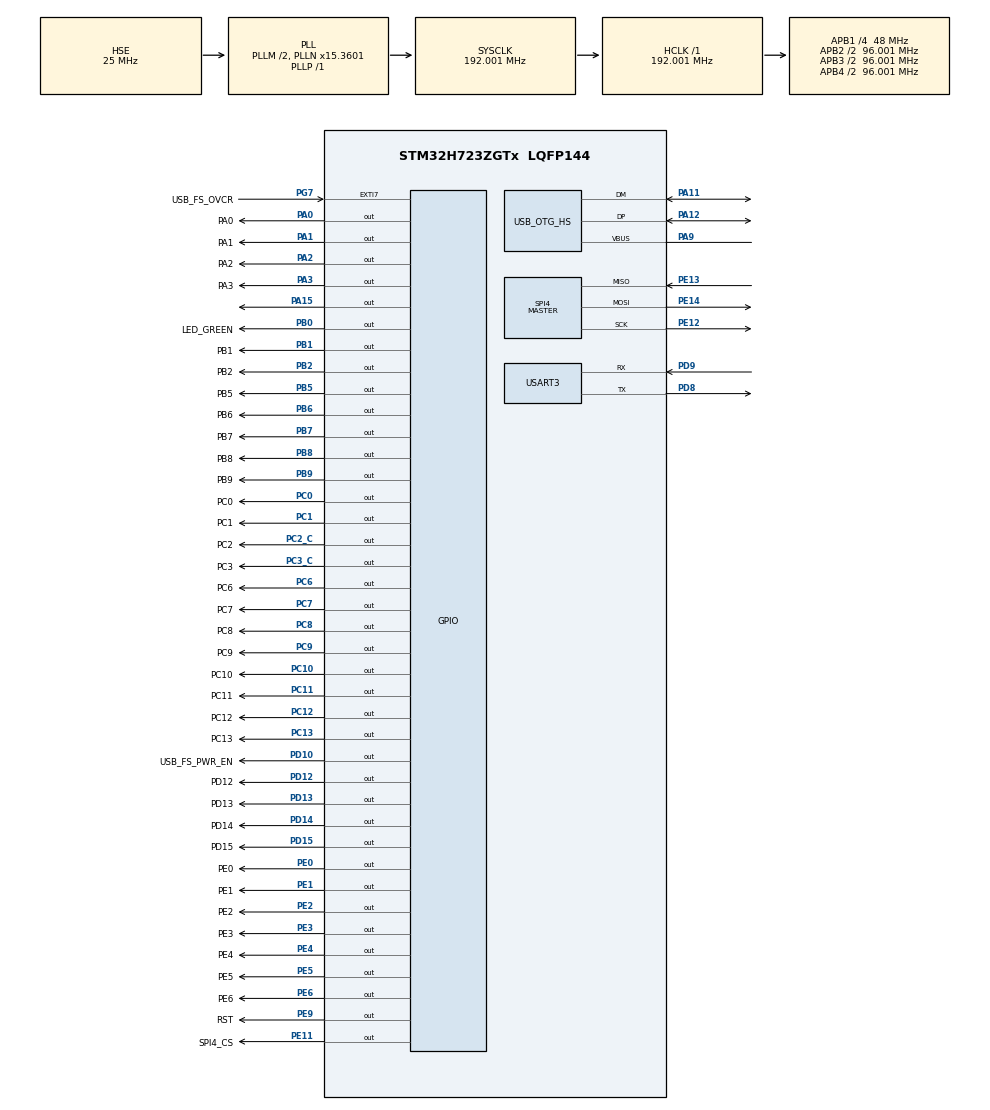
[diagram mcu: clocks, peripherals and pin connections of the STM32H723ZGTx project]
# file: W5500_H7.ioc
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Mcu.Family=STM32H7
Mcu.Name=STM32H723ZGTx
Mcu.Package=LQFP144
NVIC.OTG_HS_EP1_IN_IRQn=true\:0\:0\:false\:false\:true\:true\:true\:true
NVIC.OTG_HS_EP1_OUT_IRQn=true\:0\:0\:false\:false\:true\:true\:true\:true
NVIC.OTG_HS_IRQn=true\:0\:0\:false\:false\:true\:true\:true\:true
NVIC.PriorityGroup=NVIC_PRIORITYGROUP_4
PA0.GPIO_Label=PA0
PA0.Signal=GPIO_Output
PA1.GPIO_Label=PA1
PA1.Signal=GPIO_Output
PA11.Mode=Device_Only_FS
PA11.Signal=USB_OTG_HS_DM
PA12.Mode=Device_Only_FS
PA12.Signal=USB_OTG_HS_DP
PA13(JTMS/SWDIO).GPIO_Label=SWDIO
PA13(JTMS/SWDIO).Mode=Trace_Asynchronous_SW
PA13(JTMS/SWDIO).Signal=DEBUG_JTMS-SWDIO
PA14(JTCK/SWCLK).GPIO_Label=SWCLK
PA14(JTCK/SWCLK).Mode=Trace_Asynchronous_SW
PA14(JTCK/SWCLK).Signal=DEBUG_JTCK-SWCLK
PA15(JTDI).PinState=GPIO_PIN_SET
PA15(JTDI).Signal=GPIO_Output
PA2.GPIO_Label=PA2
PA2.Signal=GPIO_Output
PA3.GPIO_Label=PA3
PA3.Signal=GPIO_Output
PA7.GPIO_Label=RMII_CRS_DV
PA7.Signal=ETH_CRS_DV
PA9.Mode=Activate_VBUS_FS
PA9.Signal=USB_OTG_HS_VBUS
PB0.GPIO_Label=LED_GREEN
PB0.Signal=GPIO_Output
PB1.GPIO_Label=PB1
PB1.Signal=GPIO_Output
PB2.GPIO_Label=PB2
PB2.Signal=GPIO_Output
PB3(JTDO/TRACESWO).GPIO_Label=SWO
PB3(JTDO/TRACESWO).Mode=Trace_Asynchronous_SW
PB3(JTDO/TRACESWO).Signal=DEBUG_JTDO-SWO
PB5.GPIO_Label=PB5
PB5.Signal=GPIO_Output
PB6.GPIO_Label=PB6
PB6.Signal=GPIO_Output
PB7.GPIO_Label=PB7
PB7.Signal=GPIO_Output
PB8.GPIO_Label=PB8
PB8.Signal=GPIO_Output
PB9.GPIO_Label=PB9
PB9.Signal=GPIO_Output
PC0.GPIO_Label=PC0
PC0.Signal=GPIO_Output
PC1.GPIO_Label=PC1
PC1.Signal=GPIO_Output
PC10.GPIO_Label=PC10
PC10.Signal=GPIO_Output
PC11.GPIO_Label=PC11
PC11.Signal=GPIO_Output
PC12.GPIO_Label=PC12
PC12.Signal=GPIO_Output
PC13.GPIO_Label=PC13
PC13.Signal=GPIO_Output
PC14-OSC32_IN.Mode=LSE-External-Oscillator
PC14-OSC32_IN.Signal=RCC_OSC32_IN
PC15-OSC32_OUT.Mode=LSE-External-Oscillator
PC15-OSC32_OUT.Signal=RCC_OSC32_OUT
PC2_C.GPIO_Label=PC2
PC2_C.Signal=GPIO_Output
PC3_C.GPIO_Label=PC3
PC3_C.Signal=GPIO_Output
PC4.GPIO_Label=RMII_RXD0
PC4.Signal=ETH_RXD0
PC5.GPIO_Label=RMII_RXD1
PC5.Signal=ETH_RXD1
PC6.GPIO_Label=PC6
PC6.Signal=GPIO_Output
PC7.GPIO_Label=PC7
PC7.Signal=GPIO_Output
PC8.GPIO_Label=PC8
PC8.Signal=GPIO_Output
PC9.GPIO_Label=PC9
PC9.Signal=GPIO_Output
PD10.GPIO_Label=USB_FS_PWR_EN
PD10.Signal=GPIO_Output
PD12.GPIO_Label=PD12
PD12.Signal=GPIO_Output
PD13.GPIO_Label=PD13
PD13.Signal=GPIO_Output
PD14.GPIO_Label=PD14
PD14.Signal=GPIO_Output
PD15.GPIO_Label=PD15
PD15.Signal=GPIO_Output
PD8.Mode=Asynchronous
PD8.Signal=USART3_TX
PD9.Mode=Asynchronous
PD9.Signal=USART3_RX
PE0.GPIO_Label=PE0
PE0.Signal=GPIO_Output
PE1.GPIO_Label=PE1
PE1.Signal=GPIO_Output
PE11.GPIO_Label=SPI4_CS
PE11.Signal=GPIO_Output
PE12.Mode=Full_Duplex_Master
PE12.Signal=SPI4_SCK
PE13.Mode=Full_Duplex_Master
PE13.Signal=SPI4_MISO
PE14.Mode=Full_Duplex_Master
PE14.Signal=SPI4_MOSI
PE2.GPIO_Label=PE2
PE2.Signal=GPIO_Output
PE3.GPIO_Label=PE3
PE3.Signal=GPIO_Output
PE4.GPIO_Label=PE4
PE4.Signal=GPIO_Output
PE5.GPIO_Label=PE5
PE5.Signal=GPIO_Output
PE6.GPIO_Label=PE6
PE6.Signal=GPIO_Output
PE9.GPIO_Label=RST
PE9.Signal=GPIO_Output
PG11.GPIO_Label=RMII_TX_EN
PG11.Signal=ETH_TX_EN
PG13.GPIO_Label=RMII_TXD0
PG13.Signal=ETH_TXD0
PG7.GPIO_Label=USB_FS_OVCR
PG7.Signal=GPXTI7
PH0-OSC_IN.GPIO_Label=MCO
PH0-OSC_IN.Mode=HSE-External-Oscillator
PH0-OSC_IN.Signal=RCC_OSC_IN
PH1-OSC_OUT.Mode=HSE-External-Oscillator
PH1-OSC_OUT.Signal=RCC_OSC_OUT
ProjectManager.HeapSize=0x600
ProjectManager.StackSize=0x400
ProjectManager.TargetToolchain=MDK-ARM V5.32
RCC.ADCFreq_Value=200000000
RCC.APB1Freq_Value=48000335.693359375
RCC.APB2Freq_Value=96000671.38671875
RCC.APB3Freq_Value=96000671.38671875
RCC.APB4Freq_Value=96000671.38671875
RCC.CortexFreq_Value=192001342.7734375
RCC.D1PPRE=RCC_APB3_DIV2
RCC.D2PPRE1=RCC_APB1_DIV4
RCC.D2PPRE2=RCC_APB2_DIV2
RCC.D3PPRE=RCC_APB4_DIV2
RCC.DIVM1=2
RCC.DIVM2=1
RCC.DIVM3=5
RCC.DIVN1=15
RCC.DIVN2=16
RCC.DIVN3=48
RCC.DIVP1=1
RCC.DIVQ3=5
RCC.HCLKFreq_Value=192001342.7734375
RCC.HSE_VALUE=25000000
RCC.PLL3FRACN=0
RCC.PLLFRACN=2950
RCC.PLLSourceVirtual=RCC_PLLSOURCE_HSE
RCC.SYSCLKFreq_VALUE=192001342.7734375
RCC.SYSCLKSource=RCC_SYSCLKSOURCE_PLLCLK
RCC.USBCLockSelection=RCC_USBCLKSOURCE_PLL3
RCC.USBFreq_Value=48000000
SPI4.CalculateBaudRate=48.000336 MBits/s
SPI4.DataSize=SPI_DATASIZE_8BIT
SPI4.Direction=SPI_DIRECTION_2LINES
SPI4.Mode=SPI_MODE_MASTER
SPI4.VirtualType=VM_MASTER
USART3.VirtualMode-Asynchronous=VM_ASYNC
USB_DEVICE.CLASS_NAME_HS=CDC
USB_DEVICE.VirtualMode=Cdc
USB_DEVICE.VirtualModeHS=Cdc_HS
USB_OTG_HS.VirtualMode-Device_Only_FS=Device_Only_FS
USB_OTG_HS.lpm_enable-Device_Only_FS=ENABLE
VP_RTC_VS_RTC_Activate.Mode=RTC_Enabled
VP_USB_DEVICE_VS_USB_DEVICE_CDC_HS.Mode=CDC_HS
board=NUCLEO-H723ZG

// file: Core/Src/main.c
/* USER CODE BEGIN Header */
/**
  ******************************************************************************
  * @file           : main.c
  * @brief          : Main program body
  ******************************************************************************
  * @attention
  *
  * Copyright (c) 2024 STMicroelectronics.
  * All rights reserved.
  *
  * This software is licensed under terms that can be found in the LICENSE file
  * in the root directory of this software component.
  * If no LICENSE file comes with this software, it is provided AS-IS.
  *
  ******************************************************************************
  */
/* USER CODE END Header */
#include "main.h"
#include "usb_device.h"

/* USER CODE BEGIN Includes */

#include <stdio.h>

#include "wizchip_conf.h"
//#include "w5x00_spi.h"

#include "loopback.h"
#include "usbd_cdc_if.h"

/* USER CODE END Includes */

/* USER CODE BEGIN PM */
/* Buffer */
#define ETHERNET_BUF_MAX_SIZE (1024 * 2)

/* Socket */
#define SOCKET_LOOPBACK 0

/* Port */
#define PORT_LOOPBACK 5000

/* USER CODE END PM */

RTC_HandleTypeDef hrtc;

SPI_HandleTypeDef hspi4;

UART_HandleTypeDef huart3;

/* USER CODE BEGIN PV */

/* Network */

static wiz_NetInfo gWIZNETINFO =
    {
        .mac = {0x00, 0x08, 0xDC, 0x12, 0x34, 0x56}, // MAC address
        .ip = {192, 168, 11, 2},                     // IP address
        .sn = {255, 255, 255, 0},                    // Subnet Mask
        .gw = {192, 168, 11, 1},                     // Gateway
        .dns = {8, 8, 8, 8},                         // DNS server
        .dhcp = NETINFO_STATIC                       // DHCP enable/disable
};

/* Loopback */

static uint8_t g_loopback_buf[ETHERNET_BUF_MAX_SIZE] = {
    0,
};

void print_network_information(void);
void wizchip_initialize(void);
uint8_t W5500SpiReadByte(void);
void W5500SpiWriteByte(uint8_t byte);
static inline void wizchip_select(void);
static inline void wizchip_deselect(void);
void wizchip_reset();
void network_initialize(wiz_NetInfo net_info);

/* USER CODE END PV */

void SystemClock_Config(void);
static void MX_GPIO_Init(void);
static void MX_SPI4_Init(void);
static void MX_RTC_Init(void);
static void MX_USART3_UART_Init(void);
/* USER CODE BEGIN PFP */

#define PUTCHAR_PROTOTYPE int fputc(int ch, FILE *f)

PUTCHAR_PROTOTYPE
{
    /* Implement your write code here, this is used by puts and printf for example */

    /* Place your implementation of fputc here */
    /* e.g. write a character to the USART */

    uint8_t c[1];
    c[0] = ch & 0x00FF;
		HAL_UART_Transmit(&huart3, &c[0], 1, 10);
    return ch;
}
/* USER CODE END PFP */

int main(void)
{
  /* USER CODE BEGIN 1 */

	int retval = 0;

  /* USER CODE END 1 */

  /* MCU Configuration--------------------------------------------------------*/

  /* Reset of all peripherals, Initializes the Flash interface and the Systick. */
  HAL_Init();

  /* Configure the system clock */
  SystemClock_Config();

  /* Initialize all configured peripherals */
  MX_GPIO_Init();
  MX_SPI4_Init();
  MX_RTC_Init();
  MX_USB_DEVICE_Init();
  MX_USART3_UART_Init();
  /* USER CODE BEGIN 2 */

	uint8_t text[] = "Hello \r\n";

	printf("main test\r\n");
	wizchip_reset();
	wizchip_initialize();

	printf("VERSION = %.2x \r\n",getVERSIONR());
	network_initialize(gWIZNETINFO);
	print_network_information();

  /* USER CODE END 2 */

  /* Infinite loop */
  /* USER CODE BEGIN WHILE */
  while (1)
  {
		//printf("main start\r\n");
		CDC_Transmit_HS(text, sizeof(text));
		HAL_Delay(500);

		if ((retval = loopback_tcps(SOCKET_LOOPBACK, g_loopback_buf, PORT_LOOPBACK)) < 0)
      {
          printf(" Loopback error : %d\n", retval);
          while (1)
              ;
      }

    /* USER CODE END WHILE */

  }
}

void SystemClock_Config(void)
{
  RCC_OscInitTypeDef RCC_OscInitStruct = {0};
  RCC_ClkInitTypeDef RCC_ClkInitStruct = {0};

  /** Supply configuration update enable
  */
  HAL_PWREx_ConfigSupply(PWR_LDO_SUPPLY);

  /** Configure the main internal regulator output voltage
  */
  __HAL_PWR_VOLTAGESCALING_CONFIG(PWR_REGULATOR_VOLTAGE_SCALE2);

  while(!__HAL_PWR_GET_FLAG(PWR_FLAG_VOSRDY)) {}

  /** Initializes the RCC Oscillators according to the specified parameters
  * in the RCC_OscInitTypeDef structure.
  */
  RCC_OscInitStruct.OscillatorType = RCC_OSCILLATORTYPE_LSI|RCC_OSCILLATORTYPE_HSE;
  RCC_OscInitStruct.HSEState = RCC_HSE_ON;
  RCC_OscInitStruct.LSIState = RCC_LSI_ON;
  RCC_OscInitStruct.PLL.PLLState = RCC_PLL_ON;
  RCC_OscInitStruct.PLL.PLLSource = RCC_PLLSOURCE_HSE;
  RCC_OscInitStruct.PLL.PLLM = 2;
  RCC_OscInitStruct.PLL.PLLN = 15;
  RCC_OscInitStruct.PLL.PLLP = 1;
  RCC_OscInitStruct.PLL.PLLQ = 2;
  RCC_OscInitStruct.PLL.PLLR = 2;
  RCC_OscInitStruct.PLL.PLLRGE = RCC_PLL1VCIRANGE_3;
  RCC_OscInitStruct.PLL.PLLVCOSEL = RCC_PLL1VCOWIDE;
  RCC_OscInitStruct.PLL.PLLFRACN = 2950;
  if (HAL_RCC_OscConfig(&RCC_OscInitStruct) != HAL_OK)
  {
    Error_Handler();
  }

  /** Initializes the CPU, AHB and APB buses clocks
  */
  RCC_ClkInitStruct.ClockType = RCC_CLOCKTYPE_HCLK|RCC_CLOCKTYPE_SYSCLK
                              |RCC_CLOCKTYPE_PCLK1|RCC_CLOCKTYPE_PCLK2
                              |RCC_CLOCKTYPE_D3PCLK1|RCC_CLOCKTYPE_D1PCLK1;
  RCC_ClkInitStruct.SYSCLKSource = RCC_SYSCLKSOURCE_PLLCLK;
  RCC_ClkInitStruct.SYSCLKDivider = RCC_SYSCLK_DIV1;
  RCC_ClkInitStruct.AHBCLKDivider = RCC_HCLK_DIV1;
  RCC_ClkInitStruct.APB3CLKDivider = RCC_APB3_DIV2;
  RCC_ClkInitStruct.APB1CLKDivider = RCC_APB1_DIV4;
  RCC_ClkInitStruct.APB2CLKDivider = RCC_APB2_DIV2;
  RCC_ClkInitStruct.APB4CLKDivider = RCC_APB4_DIV2;

  if (HAL_RCC_ClockConfig(&RCC_ClkInitStruct, FLASH_LATENCY_0) != HAL_OK)
  {
    Error_Handler();
  }
}

static void MX_RTC_Init(void)
{

  /** Initialize RTC Only
  */
  hrtc.Instance = RTC;
  hrtc.Init.HourFormat = RTC_HOURFORMAT_24;
  hrtc.Init.AsynchPrediv = 127;
  hrtc.Init.SynchPrediv = 255;
  hrtc.Init.OutPut = RTC_OUTPUT_DISABLE;
  hrtc.Init.OutPutPolarity = RTC_OUTPUT_POLARITY_HIGH;
  hrtc.Init.OutPutType = RTC_OUTPUT_TYPE_OPENDRAIN;
  hrtc.Init.OutPutRemap = RTC_OUTPUT_REMAP_NONE;
  if (HAL_RTC_Init(&hrtc) != HAL_OK)
  {
    Error_Handler();
  }

}

static void MX_SPI4_Init(void)
{

  /* SPI4 parameter configuration*/
  hspi4.Instance = SPI4;
  hspi4.Init.Mode = SPI_MODE_MASTER;
  hspi4.Init.Direction = SPI_DIRECTION_2LINES;
  hspi4.Init.DataSize = SPI_DATASIZE_8BIT;
  hspi4.Init.CLKPolarity = SPI_POLARITY_LOW;
  hspi4.Init.CLKPhase = SPI_PHASE_1EDGE;
  hspi4.Init.NSS = SPI_NSS_SOFT;
  hspi4.Init.BaudRatePrescaler = SPI_BAUDRATEPRESCALER_2;
  hspi4.Init.FirstBit = SPI_FIRSTBIT_MSB;
  hspi4.Init.TIMode = SPI_TIMODE_DISABLE;
  hspi4.Init.CRCCalculation = SPI_CRCCALCULATION_DISABLE;
  hspi4.Init.CRCPolynomial = 0x0;
  hspi4.Init.NSSPMode = SPI_NSS_PULSE_ENABLE;
  hspi4.Init.NSSPolarity = SPI_NSS_POLARITY_LOW;
  hspi4.Init.FifoThreshold = SPI_FIFO_THRESHOLD_01DATA;
  hspi4.Init.TxCRCInitializationPattern = SPI_CRC_INITIALIZATION_ALL_ZERO_PATTERN;
  hspi4.Init.RxCRCInitializationPattern = SPI_CRC_INITIALIZATION_ALL_ZERO_PATTERN;
  hspi4.Init.MasterSSIdleness = SPI_MASTER_SS_IDLENESS_00CYCLE;
  hspi4.Init.MasterInterDataIdleness = SPI_MASTER_INTERDATA_IDLENESS_00CYCLE;
  hspi4.Init.MasterReceiverAutoSusp = SPI_MASTER_RX_AUTOSUSP_DISABLE;
  hspi4.Init.MasterKeepIOState = SPI_MASTER_KEEP_IO_STATE_DISABLE;
  hspi4.Init.IOSwap = SPI_IO_SWAP_DISABLE;
  if (HAL_SPI_Init(&hspi4) != HAL_OK)
  {
    Error_Handler();
  }

}

static void MX_USART3_UART_Init(void)
{

  huart3.Instance = USART3;
  huart3.Init.BaudRate = 115200;
  huart3.Init.WordLength = UART_WORDLENGTH_8B;
  huart3.Init.StopBits = UART_STOPBITS_1;
  huart3.Init.Parity = UART_PARITY_NONE;
  huart3.Init.Mode = UART_MODE_TX_RX;
  huart3.Init.HwFlowCtl = UART_HWCONTROL_NONE;
  huart3.Init.OverSampling = UART_OVERSAMPLING_16;
  huart3.Init.OneBitSampling = UART_ONE_BIT_SAMPLE_DISABLE;
  huart3.Init.ClockPrescaler = UART_PRESCALER_DIV1;
  huart3.AdvancedInit.AdvFeatureInit = UART_ADVFEATURE_NO_INIT;
  if (HAL_UART_Init(&huart3) != HAL_OK)
  {
    Error_Handler();
  }
  if (HAL_UARTEx_SetTxFifoThreshold(&huart3, UART_TXFIFO_THRESHOLD_1_8) != HAL_OK)
  {
    Error_Handler();
  }
  if (HAL_UARTEx_SetRxFifoThreshold(&huart3, UART_RXFIFO_THRESHOLD_1_8) != HAL_OK)
  {
    Error_Handler();
  }
  if (HAL_UARTEx_DisableFifoMode(&huart3) != HAL_OK)
  {
    Error_Handler();
  }

}

static void MX_GPIO_Init(void)
{
  GPIO_InitTypeDef GPIO_InitStruct = {0};

  /* GPIO Ports Clock Enable */
  __HAL_RCC_GPIOE_CLK_ENABLE();
  __HAL_RCC_GPIOC_CLK_ENABLE();
  __HAL_RCC_GPIOH_CLK_ENABLE();
  __HAL_RCC_GPIOA_CLK_ENABLE();
  __HAL_RCC_GPIOB_CLK_ENABLE();
  __HAL_RCC_GPIOD_CLK_ENABLE();
  __HAL_RCC_GPIOG_CLK_ENABLE();

  /*Configure GPIO pin Output Level */
  HAL_GPIO_WritePin(GPIOE, PE2_Pin|PE3_Pin|PE4_Pin|PE5_Pin
                          |PE6_Pin|RST_Pin|SPI4_CS_Pin|PE0_Pin
                          |PE1_Pin, GPIO_PIN_RESET);

  /*Configure GPIO pin Output Level */
  HAL_GPIO_WritePin(GPIOC, PC13_Pin|PC0_Pin|PC1_Pin|PC2_Pin
                          |PC3_Pin|PC6_Pin|PC7_Pin|PC8_Pin
                          |PC9_Pin|PC10_Pin|PC11_Pin|PC12_Pin, GPIO_PIN_RESET);

  /*Configure GPIO pin Output Level */
  HAL_GPIO_WritePin(GPIOA, PA0_Pin|PA1_Pin|PA2_Pin|PA3_Pin, GPIO_PIN_RESET);

  /*Configure GPIO pin Output Level */
  HAL_GPIO_WritePin(GPIOB, LED_GREEN_Pin|PB1_Pin|PB2_Pin|PB5_Pin
                          |PB6_Pin|PB7_Pin|PB8_Pin|PB9_Pin, GPIO_PIN_RESET);

  /*Configure GPIO pin Output Level */
  HAL_GPIO_WritePin(GPIOD, USB_FS_PWR_EN_Pin|PD12_Pin|PD13_Pin|PD14_Pin
                          |PD15_Pin, GPIO_PIN_RESET);

  /*Configure GPIO pin Output Level */
  HAL_GPIO_WritePin(GPIOA, GPIO_PIN_15, GPIO_PIN_SET);

  /*Configure GPIO pins : PE2_Pin PE3_Pin PE4_Pin PE5_Pin
                           PE6_Pin RST_Pin SPI4_CS_Pin PE0_Pin
                           PE1_Pin */
  GPIO_InitStruct.Pin = PE2_Pin|PE3_Pin|PE4_Pin|PE5_Pin
                          |PE6_Pin|RST_Pin|SPI4_CS_Pin|PE0_Pin
                          |PE1_Pin;
  GPIO_InitStruct.Mode = GPIO_MODE_OUTPUT_PP;
  GPIO_InitStruct.Pull = GPIO_NOPULL;
  GPIO_InitStruct.Speed = GPIO_SPEED_FREQ_LOW;
  HAL_GPIO_Init(GPIOE, &GPIO_InitStruct);

  /*Configure GPIO pins : PC13_Pin PC0_Pin PC1_Pin PC2_Pin
                           PC3_Pin PC6_Pin PC7_Pin PC8_Pin
                           PC9_Pin PC10_Pin PC11_Pin PC12_Pin */
  GPIO_InitStruct.Pin = PC13_Pin|PC0_Pin|PC1_Pin|PC2_Pin
                          |PC3_Pin|PC6_Pin|PC7_Pin|PC8_Pin
                          |PC9_Pin|PC10_Pin|PC11_Pin|PC12_Pin;
  GPIO_InitStruct.Mode = GPIO_MODE_OUTPUT_PP;
  GPIO_InitStruct.Pull = GPIO_NOPULL;
  GPIO_InitStruct.Speed = GPIO_SPEED_FREQ_LOW;
  HAL_GPIO_Init(GPIOC, &GPIO_InitStruct);

  /*Configure GPIO pins : PA0_Pin PA1_Pin PA2_Pin PA3_Pin
                           PA15 */
  GPIO_InitStruct.Pin = PA0_Pin|PA1_Pin|PA2_Pin|PA3_Pin
                          |GPIO_PIN_15;
  GPIO_InitStruct.Mode = GPIO_MODE_OUTPUT_PP;
  GPIO_InitStruct.Pull = GPIO_NOPULL;
  GPIO_InitStruct.Speed = GPIO_SPEED_FREQ_LOW;
  HAL_GPIO_Init(GPIOA, &GPIO_InitStruct);

  /*Configure GPIO pin : RMII_CRS_DV_Pin */
  GPIO_InitStruct.Pin = RMII_CRS_DV_Pin;
  GPIO_InitStruct.Mode = GPIO_MODE_AF_PP;
  GPIO_InitStruct.Pull = GPIO_NOPULL;
  GPIO_InitStruct.Speed = GPIO_SPEED_FREQ_LOW;
  GPIO_InitStruct.Alternate = GPIO_AF11_ETH;
  HAL_GPIO_Init(RMII_CRS_DV_GPIO_Port, &GPIO_InitStruct);

  /*Configure GPIO pins : RMII_RXD0_Pin RMII_RXD1_Pin */
  GPIO_InitStruct.Pin = RMII_RXD0_Pin|RMII_RXD1_Pin;
  GPIO_InitStruct.Mode = GPIO_MODE_AF_PP;
  GPIO_InitStruct.Pull = GPIO_NOPULL;
  GPIO_InitStruct.Speed = GPIO_SPEED_FREQ_LOW;
  GPIO_InitStruct.Alternate = GPIO_AF11_ETH;
  HAL_GPIO_Init(GPIOC, &GPIO_InitStruct);

  /*Configure GPIO pins : LED_GREEN_Pin PB1_Pin PB2_Pin PB5_Pin
                           PB6_Pin PB7_Pin PB8_Pin PB9_Pin */
  GPIO_InitStruct.Pin = LED_GREEN_Pin|PB1_Pin|PB2_Pin|PB5_Pin
                          |PB6_Pin|PB7_Pin|PB8_Pin|PB9_Pin;
  GPIO_InitStruct.Mode = GPIO_MODE_OUTPUT_PP;
  GPIO_InitStruct.Pull = GPIO_NOPULL;
  GPIO_InitStruct.Speed = GPIO_SPEED_FREQ_LOW;
  HAL_GPIO_Init(GPIOB, &GPIO_InitStruct);

  /*Configure GPIO pins : USB_FS_PWR_EN_Pin PD12_Pin PD13_Pin PD14_Pin
                           PD15_Pin */
  GPIO_InitStruct.Pin = USB_FS_PWR_EN_Pin|PD12_Pin|PD13_Pin|PD14_Pin
                          |PD15_Pin;
  GPIO_InitStruct.Mode = GPIO_MODE_OUTPUT_PP;
  GPIO_InitStruct.Pull = GPIO_NOPULL;
  GPIO_InitStruct.Speed = GPIO_SPEED_FREQ_LOW;
  HAL_GPIO_Init(GPIOD, &GPIO_InitStruct);

  /*Configure GPIO pin : USB_FS_OVCR_Pin */
  GPIO_InitStruct.Pin = USB_FS_OVCR_Pin;
  GPIO_InitStruct.Mode = GPIO_MODE_IT_RISING;
  GPIO_InitStruct.Pull = GPIO_NOPULL;
  HAL_GPIO_Init(USB_FS_OVCR_GPIO_Port, &GPIO_InitStruct);

  /*Configure GPIO pins : RMII_TX_EN_Pin RMII_TXD0_Pin */
  GPIO_InitStruct.Pin = RMII_TX_EN_Pin|RMII_TXD0_Pin;
  GPIO_InitStruct.Mode = GPIO_MODE_AF_PP;
  GPIO_InitStruct.Pull = GPIO_NOPULL;
  GPIO_InitStruct.Speed = GPIO_SPEED_FREQ_LOW;
  GPIO_InitStruct.Alternate = GPIO_AF11_ETH;
  HAL_GPIO_Init(GPIOG, &GPIO_InitStruct);

}

/* USER CODE BEGIN 4 */

void wizchip_initialize(void)
{
	reg_wizchip_spi_cbfunc(W5500SpiReadByte, W5500SpiWriteByte);
	reg_wizchip_cs_cbfunc(wizchip_select,wizchip_deselect);

    /* W5x00 initialize */
   uint8_t temp;

   uint8_t memsize[2][8] = {{2, 2, 2, 2, 2, 2, 2, 2}, {2, 2, 2, 2, 2, 2, 2, 2}};

	do
	{
		if (ctlwizchip(CW_GET_PHYSTATUS, (void *)&temp) == -1)
		{
			printf("Unknown PHY link status.\r\n");
		}
	} while (temp == PHY_LINK_OFF);
	printf("PHY OK.\r\n");

	if (ctlwizchip(CW_SET_INTRMASK, &temp) == -1)
	{
		printf("W5500 interrupt\r\n");
	}

}

void network_initialize(wiz_NetInfo net_info)
{
	/*
    uint8_t syslock = SYS_NET_LOCK;
    ctlwizchip(CW_SYS_UNLOCK, &syslock);
	*/
    ctlnetwork(CN_SET_NETINFO, (void *)&net_info);
}

void print_network_information(void)
{

	wizchip_getnetinfo(&gWIZNETINFO);
	printf("MAC Address : %02x:%02x:%02x:%02x:%02x:%02x\n\r",gWIZNETINFO.mac[0],gWIZNETINFO.mac[1],gWIZNETINFO.mac[2],gWIZNETINFO.mac[3],gWIZNETINFO.mac[4],gWIZNETINFO.mac[5]);
	printf("IP  Address : %d.%d.%d.%d\n\r",gWIZNETINFO.ip[0],gWIZNETINFO.ip[1],gWIZNETINFO.ip[2],gWIZNETINFO.ip[3]);
	printf("Subnet Mask : %d.%d.%d.%d\n\r",gWIZNETINFO.sn[0],gWIZNETINFO.sn[1],gWIZNETINFO.sn[2],gWIZNETINFO.sn[3]);
	printf("Gateway     : %d.%d.%d.%d\n\r",gWIZNETINFO.gw[0],gWIZNETINFO.gw[1],gWIZNETINFO.gw[2],gWIZNETINFO.gw[3]);
	printf("DNS Server  : %d.%d.%d.%d\n\r",gWIZNETINFO.dns[0],gWIZNETINFO.dns[1],gWIZNETINFO.dns[2],gWIZNETINFO.dns[3]);
}

uint8_t W5500SpiReadByte(void)
{

	uint8_t rx = 0, tx = 0xFF;

	while (HAL_SPI_GetState(&hspi4) != HAL_SPI_STATE_READY);
	HAL_SPI_TransmitReceive(&hspi4, &tx, &rx, 1, 10);
	//printf("<<<<rx : %02x\r\n", rx);
	return rx;
}

void W5500SpiWriteByte(uint8_t byte)
{
	uint8_t rx;
	//printf(">>>>tx : %02x\r\n", byte);
	while (HAL_SPI_GetState(&hspi4) != HAL_SPI_STATE_READY);
	HAL_SPI_TransmitReceive(&hspi4, &byte, &rx, 1, 10);

}
static inline void wizchip_select(void)
{
    HAL_GPIO_WritePin(SPI4_CS_GPIO_Port, SPI4_CS_Pin, GPIO_PIN_RESET);
}

static inline void wizchip_deselect(void)
{
    HAL_GPIO_WritePin(SPI4_CS_GPIO_Port, SPI4_CS_Pin, GPIO_PIN_SET);
}

void wizchip_reset(void)
{

    HAL_GPIO_WritePin(RST_GPIO_Port, RST_Pin, GPIO_PIN_RESET);
    HAL_Delay(100);

    HAL_GPIO_WritePin(RST_GPIO_Port, RST_Pin, GPIO_PIN_SET);
    HAL_Delay(100);
}

/* USER CODE END 4 */

void Error_Handler(void)
{
  __disable_irq();
  while (1)
  {
  }
}
